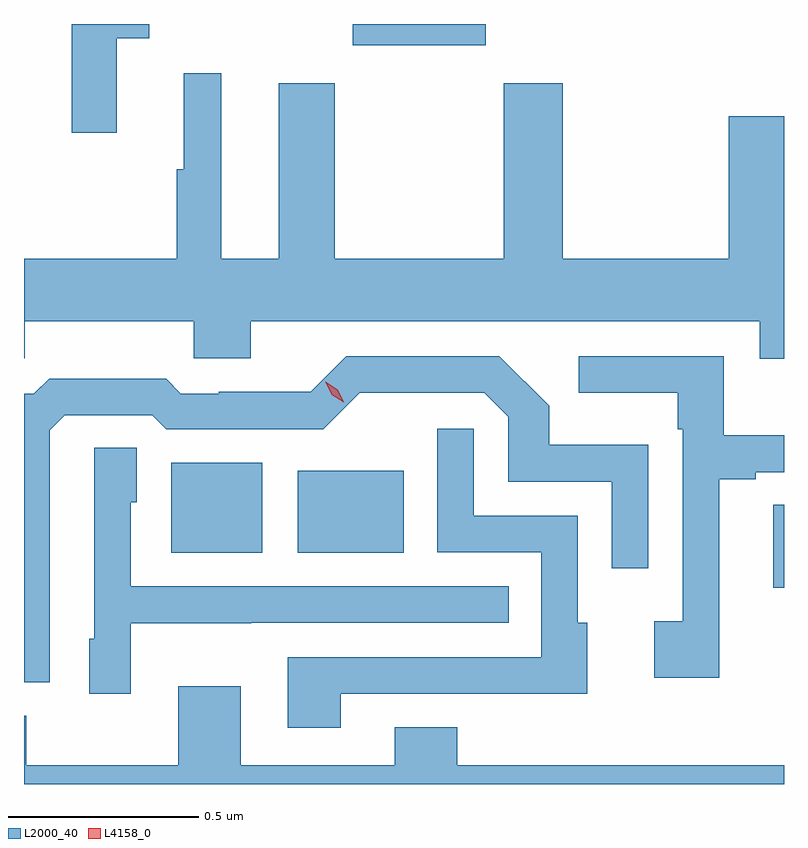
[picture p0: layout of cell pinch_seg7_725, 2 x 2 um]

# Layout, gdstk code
import gdstk
lib = gdstk.Library(unit=1e-6, precision=1e-09)
def R(c, l, rs):  # rectangles x0, y0, x1, y1
    for r in rs: c.add(gdstk.rectangle(r[:2], r[2:], *l))
def P(c, l, *ps):  # polygons
    for p in ps: c.add(gdstk.Polygon(p, *l))
L2000_40 = (2000, 40)
L4158_0 = (4158, 0)

pinch_seg7_725 = lib.new_cell('pinch_seg7_725')
R(pinch_seg7_725, L2000_40, [(332.957,1022.558,332.985,1022.777), (331.373,1022.651,331.612,1022.887), (331.706,1022.651,331.984,1022.866), (331.85,1023.986,332.2,1024.042)])
P(pinch_seg7_725, L2000_40, [(331.229,1024.004),(331.315,1024.004),(331.315,1024.042),(331.111,1024.042),(331.111,1023.756),(331.229,1023.756)],
  [(332.985,1023.799),(332.84,1023.799),(332.84,1023.424),(332.403,1023.424),(332.403,1023.886),(332.248,1023.886),(332.248,1023.424),(331.803,1023.424),(331.803,1023.886),(331.655,1023.886),(331.655,1023.424),(331.504,1023.424),(331.504,1023.913),(331.406,1023.913),(331.406,1023.66),(331.387,1023.66),(331.387,1023.424),(330.985,1023.424),(330.985,1023.162),(330.987,1023.162),(330.987,1023.26),(331.432,1023.26),(331.432,1023.162),(331.582,1023.162),(331.582,1023.26),(332.921,1023.26),(332.921,1023.161),(332.985,1023.161)],
  [(332.815,1022.844),(332.911,1022.844),(332.911,1022.862),(332.985,1022.862),(332.985,1022.96),(332.827,1022.96),(332.827,1023.168),(332.445,1023.168),(332.445,1023.071),(332.706,1023.071),(332.706,1022.975),(332.718,1022.975),(332.718,1022.47),(332.643,1022.47),(332.643,1022.322),(332.815,1022.322)],
  [(331.053,1022.973),(331.092,1023.012),(331.323,1023.012),(331.359,1022.976),(331.773,1022.976),(331.868,1023.071),(331.972,1023.071),(331.972,1023.072),(332.196,1023.072),(332.259,1023.009),(332.259,1022.838),(332.532,1022.838),(332.532,1022.61),(332.628,1022.61),(332.628,1022.935),(332.367,1022.935),(332.367,1023.038),(332.236,1023.168),(331.833,1023.168),(331.739,1023.074),(331.498,1023.074),(331.498,1023.069),(331.398,1023.069),(331.359,1023.109),(331.051,1023.109),(331.011,1023.069),(330.985,1023.069),(330.985,1022.31),(331.053,1022.31)],
  [(331.819,1022.28),(332.249,1022.28),(332.249,1022.279),(332.467,1022.279),(332.467,1022.466),(332.442,1022.466),(332.442,1022.748),(332.169,1022.748),(332.169,1022.977),(332.073,1022.977),(332.073,1022.652),(332.346,1022.652),(332.346,1022.376),(331.679,1022.376),(331.679,1022.19),(331.819,1022.19)],
  [(331.266,1022.465),(331.583,1022.465),(331.583,1022.466),(332.261,1022.466),(332.261,1022.562),(331.266,1022.562),(331.266,1022.784),(331.282,1022.784),(331.282,1022.927),(331.17,1022.927),(331.17,1022.424),(331.157,1022.424),(331.157,1022.28),(331.266,1022.28)],
  [(332.985,1022.092),(332.125,1022.092),(332.125,1022.191),(331.961,1022.191),(331.961,1022.092),(331.555,1022.092),(331.555,1022.299),(331.391,1022.299),(331.391,1022.092),(330.991,1022.092),(330.991,1022.221),(330.985,1022.221),(330.985,1022.042),(332.985,1022.042)])
P(pinch_seg7_725, L4158_0, [(331.826,1023.046),(331.795,1023.066),(331.778,1023.1),(331.778,1023.1),(331.779,1023.1),(331.81,1023.08),(331.826,1023.046),(331.826,1023.046)])

lib.write_gds('pinch_seg7_725.gds')
